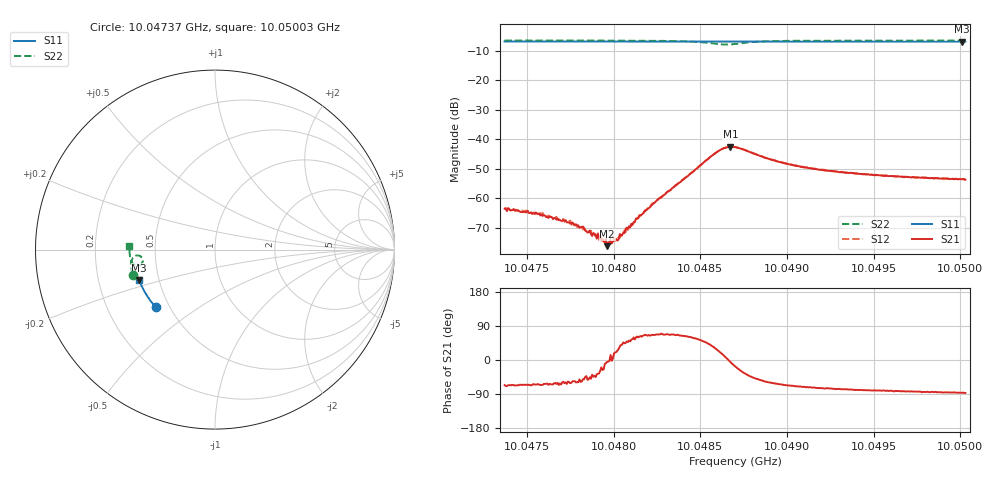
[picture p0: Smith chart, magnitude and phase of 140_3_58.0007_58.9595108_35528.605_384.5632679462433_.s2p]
#  HZ  S  RI  R  50.00
! Rohde & Schwarz Vector Network Analyzer
! Rohde-Schwarz,ZNB20-2Port,1311601062101988,3.16
! Created: UTC 3/21/2024, 12:56:36 AM
! freq[Hz]  re:S11  im:S11  re:S21  im:S21  re:S12  im:S12  re:S22  im:S22
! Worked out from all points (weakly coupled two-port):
!   401 points, 10.04737 GHz to 10.05003 GHz, reference 50 ohm
!   highest |S21| = -42.55 dB at 10.04867 GHz (marker M1); lowest = -76.3 dB at 10.04796 GHz (marker M2)
!   lowest |S11| = -6.8 dB at 10.05001 GHz (marker M3), VSWR 2.67, Z = 19.3 - j8.36 ohm
!   |S11| at or under -10 dB: nowhere
!   |S22| runs from -7.8 to -6.4 dB; largest |S21 - S12| = 0.00052
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1.0047371e10  -0.3312 -0.3194  0.000266 -0.000602  0.000276 -0.000605  -0.4577 -0.14
1.004759e10  -0.3409 -0.3083  0.000204 -0.000453  0.000259 -0.000496  -0.4616 -0.1248
1.004769e10  -0.3452 -0.3034  0.0002 -0.000372  0.000235 -0.000362  -0.463 -0.1176
1.0047736e10  -0.3471 -0.301  0.000213 -0.000326  0.000206 -0.000335  -0.4636 -0.1141
1.0047816e10  -0.3503 -0.2968  0.000175 -0.000268  0.00021 -0.000251  -0.4647 -0.108
1.0047962e10  -0.3564 -0.289  0.000152 -1.27e-05  0.00018 -2.81e-05  -0.4664 -0.0964
1.0047976e10  -0.3571 -0.2883  0.000182 -6.91e-06  0.000164 1.5e-05  -0.4663 -0.0955
1.0047996e10  -0.3578 -0.2871  0.000183 1.49e-05  0.000215 5.48e-05  -0.4665 -0.0937
1.0048016e10  -0.3586 -0.2863  0.000186 7.24e-05  0.000203 8.36e-05  -0.4667 -0.092
1.0048035e10  -0.3593 -0.2851  0.000199 0.000143  0.000171 0.000129  -0.4669 -0.0903
1.0048142e10  -0.3635 -0.2797  0.000237 0.000405  0.000191 0.000409  -0.4672 -0.0807
1.0048208e10  -0.3661 -0.276  0.000301 0.000626  0.00025 0.0007  -0.4671 -0.0743
1.0048262e10  -0.368 -0.2731  0.00037 0.000914  0.00032 0.000934  -0.4663 -0.0686
1.0048581e10  -0.3794 -0.2552  0.00472 0.00304  0.00452 0.00336  -0.4232 -0.0336
1.0048627e10  -0.3809 -0.2528  0.00662 0.00184  0.00652 0.00221  -0.4071 -0.0455
1.0048674e10  -0.3823 -0.2503  0.00742 -0.000703  0.00749 -0.000258  -0.4034 -0.0679
1.00487e10  -0.3832 -0.2489  0.00705 -0.00212  0.00722 -0.00164  -0.4091 -0.0791
1.0048946e10  -0.392 -0.2352  0.00191 -0.00374  0.00214 -0.00367  -0.4628 -0.0715
1.0049146e10  -0.3983 -0.2237  0.000937 -0.00304  0.00112 -0.003  -0.4717 -0.0501
1.0049591e10  -0.4114 -0.1973  0.000361 -0.00235  0.000467 -0.00234  -0.4763 -0.0134
1.005001e10  -0.4218 -0.1715  0.000126 -0.00212  0.00023 -0.00209  -0.4765 0.0168
1.005003e10  -0.4224 -0.1704  0.000108 -0.00206  0.000244 -0.00206  -0.4764 0.0182
